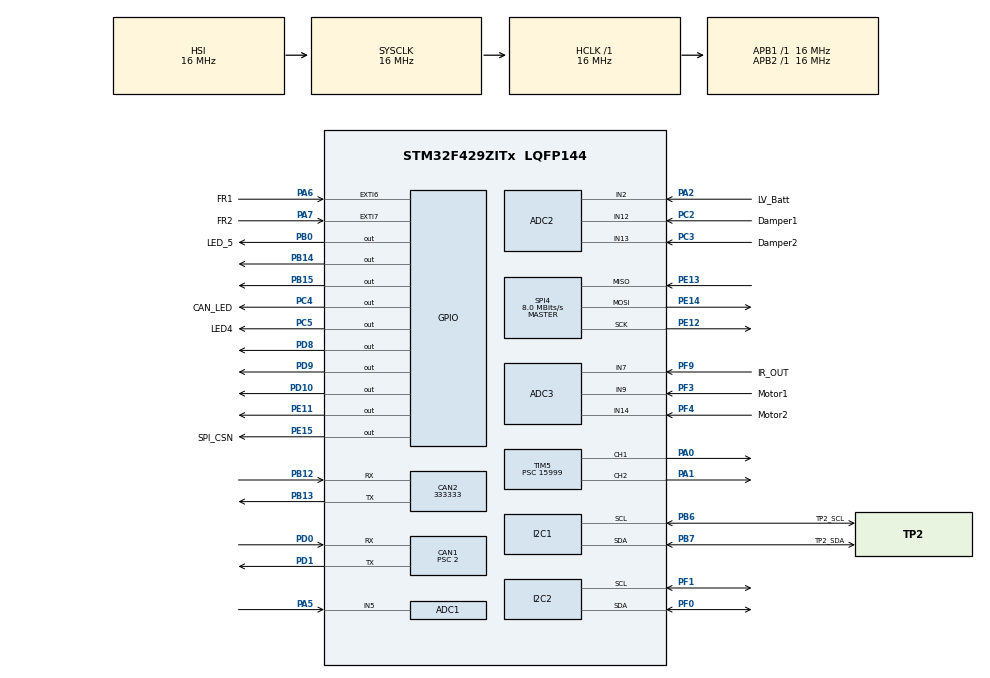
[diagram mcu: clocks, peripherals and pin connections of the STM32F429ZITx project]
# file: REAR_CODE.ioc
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ADC1.Channel-0\#ChannelRegularConversion=ADC_CHANNEL_5
ADC1.NbrOfConversionFlag=1
ADC1.Rank-0\#ChannelRegularConversion=1
ADC1.SamplingTime-0\#ChannelRegularConversion=ADC_SAMPLETIME_3CYCLES
ADC1.master=1
ADC2.Channel-1\#ChannelRegularConversion=ADC_CHANNEL_12
ADC2.NbrOfConversionFlag=1
ADC2.Rank-1\#ChannelRegularConversion=1
ADC2.SamplingTime-1\#ChannelRegularConversion=ADC_SAMPLETIME_3CYCLES
ADC3.Channel-0\#ChannelRegularConversion=ADC_CHANNEL_14
ADC3.NbrOfConversionFlag=1
ADC3.Rank-0\#ChannelRegularConversion=1
ADC3.SamplingTime-0\#ChannelRegularConversion=ADC_SAMPLETIME_3CYCLES
CAN1.AWUM=ENABLE
CAN1.BS1=CAN_BS1_11TQ
CAN1.BS2=CAN_BS2_4TQ
CAN1.CalculateBaudRate=500000
CAN1.CalculateTimeBit=2000
CAN1.CalculateTimeQuantum=125.0
CAN1.NART=ENABLE
CAN1.Prescaler=2
CAN2.CalculateBaudRate=333333
CAN2.CalculateTimeBit=3000
CAN2.CalculateTimeQuantum=1000.0
Mcu.Family=STM32F4
Mcu.Name=STM32F429ZITx
Mcu.Package=LQFP144
NVIC.CAN1_RX0_IRQn=true\:0\:0\:false\:false\:true\:true\:true\:true
NVIC.CAN1_RX1_IRQn=true\:0\:0\:false\:false\:true\:true\:true\:true
NVIC.CAN2_RX0_IRQn=true\:0\:0\:true\:false\:true\:true\:true\:true
NVIC.CAN2_RX1_IRQn=true\:0\:0\:false\:false\:true\:true\:true\:true
NVIC.EXTI9_5_IRQn=true\:1\:0\:true\:false\:true\:true\:true\:true
NVIC.PriorityGroup=NVIC_PRIORITYGROUP_4
NVIC.TIM1_BRK_TIM9_IRQn=true\:2\:0\:true\:false\:true\:true\:true\:true
NVIC.TIM1_CC_IRQn=true\:2\:0\:true\:false\:true\:true\:true\:true
NVIC.TIM1_TRG_COM_TIM11_IRQn=true\:2\:0\:true\:false\:true\:true\:true\:true
NVIC.TIM1_UP_TIM10_IRQn=true\:2\:0\:true\:false\:true\:true\:true\:true
NVIC.TIM8_UP_TIM13_IRQn=true\:1\:0\:true\:false\:true\:true\:true\:true
PA0/WKUP.Signal=S_TIM5_CH1
PA1.Signal=S_TIM5_CH2
PA2.GPIO_Label=LV_Batt
PA2.Signal=ADCx_IN2
PA5.Signal=ADCx_IN5
PA6.GPIO_Label=FR1
PA6.Signal=GPXTI6
PA7.GPIO_Label=FR2
PA7.Signal=GPXTI7
PB0.GPIO_Label=LED_5
PB0.Signal=GPIO_Output
PB12.Mode=CAN_Activate
PB12.Signal=CAN2_RX
PB13.Mode=CAN_Activate
PB13.Signal=CAN2_TX
PB14.Signal=GPIO_Output
PB15.Signal=GPIO_Output
PB6.GPIO_Label=TP2_SCL
PB6.Mode=I2C
PB6.Signal=I2C1_SCL
PB7.GPIO_Label=TP2_SDA
PB7.Mode=I2C
PB7.Signal=I2C1_SDA
PC2.GPIO_Label=Damper1
PC2.Signal=ADCx_IN12
PC3.GPIO_Label=Damper2
PC3.Signal=ADCx_IN13
PC4.GPIO_Label=CAN_LED
PC4.Signal=GPIO_Output
PC5.GPIO_Label=LED4
PC5.Signal=GPIO_Output
PD0.Mode=CAN_Activate
PD0.Signal=CAN1_RX
PD1.Mode=CAN_Activate
PD1.Signal=CAN1_TX
PD10.Signal=GPIO_Output
PD8.Signal=GPIO_Output
PD9.Signal=GPIO_Output
PE11.Signal=GPIO_Output
PE12.Mode=Full_Duplex_Master
PE12.Signal=SPI4_SCK
PE13.Mode=Full_Duplex_Master
PE13.Signal=SPI4_MISO
PE14.Mode=Full_Duplex_Master
PE14.Signal=SPI4_MOSI
PE15.GPIO_Label=SPI_CSN
PE15.Signal=GPIO_Output
PF0.Mode=I2C
PF0.Signal=I2C2_SDA
PF1.Mode=I2C
PF1.Signal=I2C2_SCL
PF3.GPIO_Label=Motor1
PF3.Mode=IN9
PF3.Signal=ADC3_IN9
PF4.GPIO_Label=Motor2
PF4.Mode=IN14
PF4.Signal=ADC3_IN14
PF9.GPIO_Label=IR_OUT
PF9.Mode=IN7
PF9.Signal=ADC3_IN7
ProjectManager.HeapSize=0x200
ProjectManager.StackSize=0x400
ProjectManager.TargetToolchain=STM32CubeIDE
RCC.AHBFreq_Value=16000000
RCC.APB1Freq_Value=16000000
RCC.APB2Freq_Value=16000000
RCC.CortexFreq_Value=16000000
RCC.HSE_VALUE=25000000
RCC.HSI_VALUE=16000000
RCC.LSE_VALUE=32768
RCC.SYSCLKFreq_VALUE=16000000
RCC.VCOOutputFreq_Value=192000000
SH.ADCx_IN12.0=ADC2_IN12,IN12
SH.ADCx_IN13.0=ADC2_IN13,IN13
SH.ADCx_IN2.0=ADC2_IN2,IN2
SH.ADCx_IN5.0=ADC1_IN5,IN5
SH.S_TIM5_CH1.0=TIM5_CH1,PWM Generation1 CH1
SH.S_TIM5_CH2.0=TIM5_CH2,PWM Generation2 CH2
SPI4.CalculateBaudRate=8.0 MBits/s
SPI4.Direction=SPI_DIRECTION_2LINES
SPI4.Mode=SPI_MODE_MASTER
SPI4.VirtualType=VM_MASTER
TIM1.AutoReloadPreload=TIM_AUTORELOAD_PRELOAD_ENABLE
TIM1.Channel-PWM\ Generation1\ No\ Output=TIM_CHANNEL_1
TIM1.Period=1000
TIM1.Prescaler=15999
TIM1.Pulse-PWM\ Generation1\ No\ Output=100
TIM1.RepetitionCounter=5
TIM13.Period=9
TIM13.Prescaler=15999
TIM2.Channel-Output\ Compare1\ No\ Output=TIM_CHANNEL_1
TIM2.Period=1000
TIM2.Prescaler=15999
TIM2.TIM_MasterOutputTrigger=TIM_TRGO_UPDATE
TIM5.AutoReloadPreload=TIM_AUTORELOAD_PRELOAD_ENABLE
TIM5.Channel-PWM\ Generation1\ CH1=TIM_CHANNEL_1
TIM5.Channel-PWM\ Generation2\ CH2=TIM_CHANNEL_2
TIM5.Period=19
TIM5.Prescaler=15999
TIM5.Pulse-PWM\ Generation1\ CH1=10
TIM5.Pulse-PWM\ Generation2\ CH2=10
VP_TIM13_VS_ClockSourceINT.Mode=Enable_Timer
VP_TIM1_VS_ClockSourceINT.Mode=Internal
VP_TIM1_VS_ClockSourceITR.Mode=TriggerSource_ITR1
VP_TIM1_VS_ControllerModeTrigger.Mode=Trigger Mode
VP_TIM1_VS_OPM.Mode=OPM_bit
VP_TIM1_VS_no_output1.Mode=PWM Generation1 No Output
VP_TIM2_VS_ClockSourceINT.Mode=Internal
VP_TIM2_VS_no_output1.Mode=Output Compare1 No Output
VP_TIM5_VS_ClockSourceINT.Mode=Internal
board=custom

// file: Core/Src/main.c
/* USER CODE BEGIN Header */
/**
  ******************************************************************************
  * @file           : main.c
  * @brief          : Main program body
  ******************************************************************************
  * @attention
  *
  * Copyright (c) 2023 STMicroelectronics.
  * All rights reserved.
  *
  * This software is licensed under terms that can be found in the LICENSE file
  * in the root directory of this software component.
  * If no LICENSE file comes with this software, it is provided AS-IS.
  *
  ******************************************************************************
  */
/* USER CODE END Header */
#include "main.h"

/* USER CODE BEGIN Includes */
typedef struct {
	CAN_HandleTypeDef* hcan;
    uint32_t id;
    uint16_t data[4];
    uint8_t DLC;

} CanMessage;

CanMessage canMessageQueue[10]; //here you define the size of CAN message you want to send sequentially
uint8_t queueHead = 0;
uint8_t queueTail = 0;

void eq_CAN_Tx(CAN_HandleTypeDef* hcan, uint32_t id, uint16_t* data,uint8_t DLC);
void dq_CAN_Tx();
/* USER CODE END Includes */

ADC_HandleTypeDef hadc1;
ADC_HandleTypeDef hadc2;
ADC_HandleTypeDef hadc3;

CAN_HandleTypeDef hcan1;
CAN_HandleTypeDef hcan2;

I2C_HandleTypeDef hi2c1;
I2C_HandleTypeDef hi2c2;

SPI_HandleTypeDef hspi4;

TIM_HandleTypeDef htim1;
TIM_HandleTypeDef htim2;
TIM_HandleTypeDef htim5;
TIM_HandleTypeDef htim13;

/* USER CODE BEGIN PV */
uint32_t ir_sens;
int m1;
float volt,temp_ir,damp_right,damp_left,flowrate,flowr,flowr1;
uint32_t pres,pres2,pres3,pres4, temp,temp2,temp3,temp4,stat;
uint16_t Tim1Prescaler,Period,Period2,Tim2Prescaler;
uint8_t RxData[8];
int c,a,b,d,x,count,count1;
int c=1;int b1=0;int c1=0;int tim_on=0;
uint32_t rcr_value,ccr_value;
uint16_t damp_sens[2];
uint16_t ptl[8],ptr[8];
uint16_t sens[4];
uint32_t ide;
uint16_t batt;
float Tdisplay,Pdisplay,Tdisplay2,Pdisplay2,Tdisplay3,Pdisplay3,Tdisplay4,Pdisplay4;
uint8_t data1[4],data2[4],data3[4],data4[4];
int f1,f2,f3;
CAN_RxHeaderTypeDef RxHeader;

uint32_t t1,t2;
/* USER CODE END PV */

void SystemClock_Config(void);
static void MX_GPIO_Init(void);
static void MX_ADC3_Init(void);
static void MX_CAN1_Init(void);
static void MX_CAN2_Init(void);
static void MX_I2C1_Init(void);
static void MX_SPI4_Init(void);
static void MX_ADC2_Init(void);
static void MX_TIM1_Init(void);
static void MX_TIM2_Init(void);
static void MX_ADC1_Init(void);
static void MX_I2C2_Init(void);
static void MX_TIM13_Init(void);
static void MX_TIM5_Init(void);
/* USER CODE BEGIN PFP */
void irsens(void);
static void Tim1_cust(void);
static void Tim2_cust(void);
void lv_batt();
void dampers();
void func_time(int c);
void diffunc();
void CAN_Tx(CAN_HandleTypeDef* hcan, uint32_t id, uint8_t* data_tx);
void CAN_Start();
void flowrate1();
void flowrate2();
void pres_temp();
void CAN_transmit();
/* USER CODE END PFP */

/* USER CODE BEGIN 0 */
uint8_t Txdata[8];
/* USER CODE END 0 */

int main(void)
{

  /* MCU Configuration--------------------------------------------------------*/

  /* Reset of all peripherals, Initializes the Flash interface and the Systick. */
  HAL_Init();

  /* Configure the system clock */
  SystemClock_Config();

  /* Initialize all configured peripherals */
  MX_GPIO_Init();
  MX_ADC3_Init();
  MX_CAN1_Init();
  MX_CAN2_Init();
  MX_I2C1_Init();
  MX_SPI4_Init();
  MX_ADC2_Init();
  MX_TIM1_Init();
  MX_TIM2_Init();
  MX_ADC1_Init();
  MX_I2C2_Init();
  MX_TIM13_Init();
  MX_TIM5_Init();
  /* USER CODE BEGIN 2 */

Tim2_cust();
Tim1_cust();
CAN_Start();
//  if(HAL_ADC_Start_IT(&hadc1) != HAL_OK)
//                 Error_Handler();

   // start pwm generation
  HAL_TIM_Base_Start(&htim2);
  HAL_TIM_PWM_Start_IT(&htim1, TIM_CHANNEL_1);
  HAL_TIM_Base_Start_IT(&htim13);
  fanpwm();

  /* USER CODE END 2 */

  /* Infinite loop */
  while (1)
  {

  }
}

void SystemClock_Config(void)
{
  RCC_OscInitTypeDef RCC_OscInitStruct = {0};
  RCC_ClkInitTypeDef RCC_ClkInitStruct = {0};

  /** Configure the main internal regulator output voltage
  */
  __HAL_RCC_PWR_CLK_ENABLE();
  __HAL_PWR_VOLTAGESCALING_CONFIG(PWR_REGULATOR_VOLTAGE_SCALE3);

  /** Initializes the RCC Oscillators according to the specified parameters
  * in the RCC_OscInitTypeDef structure.
  */
  RCC_OscInitStruct.OscillatorType = RCC_OSCILLATORTYPE_HSI;
  RCC_OscInitStruct.HSIState = RCC_HSI_ON;
  RCC_OscInitStruct.HSICalibrationValue = RCC_HSICALIBRATION_DEFAULT;
  RCC_OscInitStruct.PLL.PLLState = RCC_PLL_NONE;
  if (HAL_RCC_OscConfig(&RCC_OscInitStruct) != HAL_OK)
  {
    Error_Handler();
  }

  /** Initializes the CPU, AHB and APB buses clocks
  */
  RCC_ClkInitStruct.ClockType = RCC_CLOCKTYPE_HCLK|RCC_CLOCKTYPE_SYSCLK
                              |RCC_CLOCKTYPE_PCLK1|RCC_CLOCKTYPE_PCLK2;
  RCC_ClkInitStruct.SYSCLKSource = RCC_SYSCLKSOURCE_HSI;
  RCC_ClkInitStruct.AHBCLKDivider = RCC_SYSCLK_DIV1;
  RCC_ClkInitStruct.APB1CLKDivider = RCC_HCLK_DIV1;
  RCC_ClkInitStruct.APB2CLKDivider = RCC_HCLK_DIV1;

  if (HAL_RCC_ClockConfig(&RCC_ClkInitStruct, FLASH_LATENCY_0) != HAL_OK)
  {
    Error_Handler();
  }
}

static void MX_ADC1_Init(void)
{

  ADC_ChannelConfTypeDef sConfig = {0};

  /** Configure the global features of the ADC (Clock, Resolution, Data Alignment and number of conversion)
  */
  hadc1.Instance = ADC1;
  hadc1.Init.ClockPrescaler = ADC_CLOCK_SYNC_PCLK_DIV2;
  hadc1.Init.Resolution = ADC_RESOLUTION_12B;
  hadc1.Init.ScanConvMode = DISABLE;
  hadc1.Init.ContinuousConvMode = DISABLE;
  hadc1.Init.DiscontinuousConvMode = DISABLE;
  hadc1.Init.ExternalTrigConvEdge = ADC_EXTERNALTRIGCONVEDGE_NONE;
  hadc1.Init.ExternalTrigConv = ADC_SOFTWARE_START;
  hadc1.Init.DataAlign = ADC_DATAALIGN_RIGHT;
  hadc1.Init.NbrOfConversion = 1;
  hadc1.Init.DMAContinuousRequests = DISABLE;
  hadc1.Init.EOCSelection = ADC_EOC_SINGLE_CONV;
  if (HAL_ADC_Init(&hadc1) != HAL_OK)
  {
    Error_Handler();
  }

  /** Configure for the selected ADC regular channel its corresponding rank in the sequencer and its sample time.
  */
  sConfig.Channel = ADC_CHANNEL_5;
  sConfig.Rank = 1;
  sConfig.SamplingTime = ADC_SAMPLETIME_3CYCLES;
  if (HAL_ADC_ConfigChannel(&hadc1, &sConfig) != HAL_OK)
  {
    Error_Handler();
  }

}

static void MX_ADC2_Init(void)
{

  ADC_ChannelConfTypeDef sConfig = {0};

  /** Configure the global features of the ADC (Clock, Resolution, Data Alignment and number of conversion)
  */
  hadc2.Instance = ADC2;
  hadc2.Init.ClockPrescaler = ADC_CLOCK_SYNC_PCLK_DIV2;
  hadc2.Init.Resolution = ADC_RESOLUTION_12B;
  hadc2.Init.ScanConvMode = DISABLE;
  hadc2.Init.ContinuousConvMode = DISABLE;
  hadc2.Init.DiscontinuousConvMode = DISABLE;
  hadc2.Init.ExternalTrigConvEdge = ADC_EXTERNALTRIGCONVEDGE_NONE;
  hadc2.Init.ExternalTrigConv = ADC_SOFTWARE_START;
  hadc2.Init.DataAlign = ADC_DATAALIGN_RIGHT;
  hadc2.Init.NbrOfConversion = 1;
  hadc2.Init.DMAContinuousRequests = DISABLE;
  hadc2.Init.EOCSelection = ADC_EOC_SINGLE_CONV;
  if (HAL_ADC_Init(&hadc2) != HAL_OK)
  {
    Error_Handler();
  }

  /** Configure for the selected ADC regular channel its corresponding rank in the sequencer and its sample time.
  */
  sConfig.Channel = ADC_CHANNEL_12;
  sConfig.Rank = 1;
  sConfig.SamplingTime = ADC_SAMPLETIME_3CYCLES;
  if (HAL_ADC_ConfigChannel(&hadc2, &sConfig) != HAL_OK)
  {
    Error_Handler();
  }

}

static void MX_ADC3_Init(void)
{

  ADC_ChannelConfTypeDef sConfig = {0};

  /** Configure the global features of the ADC (Clock, Resolution, Data Alignment and number of conversion)
  */
  hadc3.Instance = ADC3;
  hadc3.Init.ClockPrescaler = ADC_CLOCK_SYNC_PCLK_DIV2;
  hadc3.Init.Resolution = ADC_RESOLUTION_12B;
  hadc3.Init.ScanConvMode = DISABLE;
  hadc3.Init.ContinuousConvMode = DISABLE;
  hadc3.Init.DiscontinuousConvMode = DISABLE;
  hadc3.Init.ExternalTrigConvEdge = ADC_EXTERNALTRIGCONVEDGE_NONE;
  hadc3.Init.ExternalTrigConv = ADC_SOFTWARE_START;
  hadc3.Init.DataAlign = ADC_DATAALIGN_RIGHT;
  hadc3.Init.NbrOfConversion = 1;
  hadc3.Init.DMAContinuousRequests = DISABLE;
  hadc3.Init.EOCSelection = ADC_EOC_SINGLE_CONV;
  if (HAL_ADC_Init(&hadc3) != HAL_OK)
  {
    Error_Handler();
  }

  /** Configure for the selected ADC regular channel its corresponding rank in the sequencer and its sample time.
  */
  sConfig.Channel = ADC_CHANNEL_14;
  sConfig.Rank = 1;
  sConfig.SamplingTime = ADC_SAMPLETIME_3CYCLES;
  if (HAL_ADC_ConfigChannel(&hadc3, &sConfig) != HAL_OK)
  {
    Error_Handler();
  }

}

static void MX_CAN1_Init(void)
{

  hcan1.Instance = CAN1;
  hcan1.Init.Prescaler = 2;
  hcan1.Init.Mode = CAN_MODE_NORMAL;
  hcan1.Init.SyncJumpWidth = CAN_SJW_1TQ;
  hcan1.Init.TimeSeg1 = CAN_BS1_11TQ;
  hcan1.Init.TimeSeg2 = CAN_BS2_4TQ;
  hcan1.Init.TimeTriggeredMode = DISABLE;
  hcan1.Init.AutoBusOff = DISABLE;
  hcan1.Init.AutoWakeUp = ENABLE;
  hcan1.Init.AutoRetransmission = ENABLE;
  hcan1.Init.ReceiveFifoLocked = DISABLE;
  hcan1.Init.TransmitFifoPriority = DISABLE;
  if (HAL_CAN_Init(&hcan1) != HAL_OK)
  {
    Error_Handler();
  }

}

static void MX_CAN2_Init(void)
{

  hcan2.Instance = CAN2;
  hcan2.Init.Prescaler = 16;
  hcan2.Init.Mode = CAN_MODE_NORMAL;
  hcan2.Init.SyncJumpWidth = CAN_SJW_1TQ;
  hcan2.Init.TimeSeg1 = CAN_BS1_1TQ;
  hcan2.Init.TimeSeg2 = CAN_BS2_1TQ;
  hcan2.Init.TimeTriggeredMode = DISABLE;
  hcan2.Init.AutoBusOff = DISABLE;
  hcan2.Init.AutoWakeUp = DISABLE;
  hcan2.Init.AutoRetransmission = DISABLE;
  hcan2.Init.ReceiveFifoLocked = DISABLE;
  hcan2.Init.TransmitFifoPriority = DISABLE;
  if (HAL_CAN_Init(&hcan2) != HAL_OK)
  {
    Error_Handler();
  }

}

static void MX_I2C1_Init(void)
{

  hi2c1.Instance = I2C1;
  hi2c1.Init.ClockSpeed = 100000;
  hi2c1.Init.DutyCycle = I2C_DUTYCYCLE_2;
  hi2c1.Init.OwnAddress1 = 0;
  hi2c1.Init.AddressingMode = I2C_ADDRESSINGMODE_7BIT;
  hi2c1.Init.DualAddressMode = I2C_DUALADDRESS_DISABLE;
  hi2c1.Init.OwnAddress2 = 0;
  hi2c1.Init.GeneralCallMode = I2C_GENERALCALL_DISABLE;
  hi2c1.Init.NoStretchMode = I2C_NOSTRETCH_DISABLE;
  if (HAL_I2C_Init(&hi2c1) != HAL_OK)
  {
    Error_Handler();
  }

  /** Configure Analogue filter
  */
  if (HAL_I2CEx_ConfigAnalogFilter(&hi2c1, I2C_ANALOGFILTER_ENABLE) != HAL_OK)
  {
    Error_Handler();
  }

  /** Configure Digital filter
  */
  if (HAL_I2CEx_ConfigDigitalFilter(&hi2c1, 0) != HAL_OK)
  {
    Error_Handler();
  }

}

static void MX_I2C2_Init(void)
{

  hi2c2.Instance = I2C2;
  hi2c2.Init.ClockSpeed = 100000;
  hi2c2.Init.DutyCycle = I2C_DUTYCYCLE_2;
  hi2c2.Init.OwnAddress1 = 0;
  hi2c2.Init.AddressingMode = I2C_ADDRESSINGMODE_7BIT;
  hi2c2.Init.DualAddressMode = I2C_DUALADDRESS_DISABLE;
  hi2c2.Init.OwnAddress2 = 0;
  hi2c2.Init.GeneralCallMode = I2C_GENERALCALL_DISABLE;
  hi2c2.Init.NoStretchMode = I2C_NOSTRETCH_DISABLE;
  if (HAL_I2C_Init(&hi2c2) != HAL_OK)
  {
    Error_Handler();
  }

  /** Configure Analogue filter
  */
  if (HAL_I2CEx_ConfigAnalogFilter(&hi2c2, I2C_ANALOGFILTER_ENABLE) != HAL_OK)
  {
    Error_Handler();
  }

  /** Configure Digital filter
  */
  if (HAL_I2CEx_ConfigDigitalFilter(&hi2c2, 0) != HAL_OK)
  {
    Error_Handler();
  }

}

static void MX_SPI4_Init(void)
{

  /* SPI4 parameter configuration*/
  hspi4.Instance = SPI4;
  hspi4.Init.Mode = SPI_MODE_MASTER;
  hspi4.Init.Direction = SPI_DIRECTION_2LINES;
  hspi4.Init.DataSize = SPI_DATASIZE_8BIT;
  hspi4.Init.CLKPolarity = SPI_POLARITY_LOW;
  hspi4.Init.CLKPhase = SPI_PHASE_1EDGE;
  hspi4.Init.NSS = SPI_NSS_SOFT;
  hspi4.Init.BaudRatePrescaler = SPI_BAUDRATEPRESCALER_2;
  hspi4.Init.FirstBit = SPI_FIRSTBIT_MSB;
  hspi4.Init.TIMode = SPI_TIMODE_DISABLE;
  hspi4.Init.CRCCalculation = SPI_CRCCALCULATION_DISABLE;
  hspi4.Init.CRCPolynomial = 10;
  if (HAL_SPI_Init(&hspi4) != HAL_OK)
  {
    Error_Handler();
  }

}

static void MX_TIM1_Init(void)
{

  TIM_ClockConfigTypeDef sClockSourceConfig = {0};
  TIM_SlaveConfigTypeDef sSlaveConfig = {0};
  TIM_MasterConfigTypeDef sMasterConfig = {0};
  TIM_OC_InitTypeDef sConfigOC = {0};
  TIM_BreakDeadTimeConfigTypeDef sBreakDeadTimeConfig = {0};

  htim1.Instance = TIM1;
  htim1.Init.Prescaler = 15999;
  htim1.Init.CounterMode = TIM_COUNTERMODE_UP;
  htim1.Init.Period = 1000;
  htim1.Init.ClockDivision = TIM_CLOCKDIVISION_DIV1;
  htim1.Init.RepetitionCounter = 5;
  htim1.Init.AutoReloadPreload = TIM_AUTORELOAD_PRELOAD_ENABLE;
  if (HAL_TIM_Base_Init(&htim1) != HAL_OK)
  {
    Error_Handler();
  }
  sClockSourceConfig.ClockSource = TIM_CLOCKSOURCE_INTERNAL;
  if (HAL_TIM_ConfigClockSource(&htim1, &sClockSourceConfig) != HAL_OK)
  {
    Error_Handler();
  }
  if (HAL_TIM_PWM_Init(&htim1) != HAL_OK)
  {
    Error_Handler();
  }
  if (HAL_TIM_OnePulse_Init(&htim1, TIM_OPMODE_SINGLE) != HAL_OK)
  {
    Error_Handler();
  }
  sSlaveConfig.SlaveMode = TIM_SLAVEMODE_TRIGGER;
  sSlaveConfig.InputTrigger = TIM_TS_ITR1;
  if (HAL_TIM_SlaveConfigSynchro(&htim1, &sSlaveConfig) != HAL_OK)
  {
    Error_Handler();
  }
  sMasterConfig.MasterOutputTrigger = TIM_TRGO_RESET;
  sMasterConfig.MasterSlaveMode = TIM_MASTERSLAVEMODE_DISABLE;
  if (HAL_TIMEx_MasterConfigSynchronization(&htim1, &sMasterConfig) != HAL_OK)
  {
    Error_Handler();
  }
  sConfigOC.OCMode = TIM_OCMODE_PWM1;
  sConfigOC.Pulse = 100;
  sConfigOC.OCPolarity = TIM_OCPOLARITY_HIGH;
  sConfigOC.OCNPolarity = TIM_OCNPOLARITY_HIGH;
  sConfigOC.OCFastMode = TIM_OCFAST_DISABLE;
  sConfigOC.OCIdleState = TIM_OCIDLESTATE_RESET;
  sConfigOC.OCNIdleState = TIM_OCNIDLESTATE_RESET;
  if (HAL_TIM_PWM_ConfigChannel(&htim1, &sConfigOC, TIM_CHANNEL_1) != HAL_OK)
  {
    Error_Handler();
  }
  sBreakDeadTimeConfig.OffStateRunMode = TIM_OSSR_DISABLE;
  sBreakDeadTimeConfig.OffStateIDLEMode = TIM_OSSI_DISABLE;
  sBreakDeadTimeConfig.LockLevel = TIM_LOCKLEVEL_OFF;
  sBreakDeadTimeConfig.DeadTime = 0;
  sBreakDeadTimeConfig.BreakState = TIM_BREAK_DISABLE;
  sBreakDeadTimeConfig.BreakPolarity = TIM_BREAKPOLARITY_HIGH;
  sBreakDeadTimeConfig.AutomaticOutput = TIM_AUTOMATICOUTPUT_DISABLE;
  if (HAL_TIMEx_ConfigBreakDeadTime(&htim1, &sBreakDeadTimeConfig) != HAL_OK)
  {
    Error_Handler();
  }

}

static void MX_TIM2_Init(void)
{

  TIM_ClockConfigTypeDef sClockSourceConfig = {0};
  TIM_MasterConfigTypeDef sMasterConfig = {0};
  TIM_OC_InitTypeDef sConfigOC = {0};

  htim2.Instance = TIM2;
  htim2.Init.Prescaler = 15999;
  htim2.Init.CounterMode = TIM_COUNTERMODE_UP;
  htim2.Init.Period = 1000;
  htim2.Init.ClockDivision = TIM_CLOCKDIVISION_DIV1;
  htim2.Init.AutoReloadPreload = TIM_AUTORELOAD_PRELOAD_DISABLE;
  if (HAL_TIM_Base_Init(&htim2) != HAL_OK)
  {
    Error_Handler();
  }
  sClockSourceConfig.ClockSource = TIM_CLOCKSOURCE_INTERNAL;
  if (HAL_TIM_ConfigClockSource(&htim2, &sClockSourceConfig) != HAL_OK)
  {
    Error_Handler();
  }
  if (HAL_TIM_OC_Init(&htim2) != HAL_OK)
  {
    Error_Handler();
  }
  sMasterConfig.MasterOutputTrigger = TIM_TRGO_UPDATE;
  sMasterConfig.MasterSlaveMode = TIM_MASTERSLAVEMODE_DISABLE;
  if (HAL_TIMEx_MasterConfigSynchronization(&htim2, &sMasterConfig) != HAL_OK)
  {
    Error_Handler();
  }
  sConfigOC.OCMode = TIM_OCMODE_TIMING;
  sConfigOC.Pulse = 0;
  sConfigOC.OCPolarity = TIM_OCPOLARITY_HIGH;
  sConfigOC.OCFastMode = TIM_OCFAST_DISABLE;
  if (HAL_TIM_OC_ConfigChannel(&htim2, &sConfigOC, TIM_CHANNEL_1) != HAL_OK)
  {
    Error_Handler();
  }

}

static void MX_TIM5_Init(void)
{

  TIM_ClockConfigTypeDef sClockSourceConfig = {0};
  TIM_MasterConfigTypeDef sMasterConfig = {0};
  TIM_OC_InitTypeDef sConfigOC = {0};

  /* USER CODE BEGIN TIM5_Init 1 */
s
  /* USER CODE END TIM5_Init 1 */
  htim5.Instance = TIM5;
  htim5.Init.Prescaler = 15999;
  htim5.Init.CounterMode = TIM_COUNTERMODE_UP;
  htim5.Init.Period = 19;
  htim5.Init.ClockDivision = TIM_CLOCKDIVISION_DIV1;
  htim5.Init.AutoReloadPreload = TIM_AUTORELOAD_PRELOAD_ENABLE;
  if (HAL_TIM_Base_Init(&htim5) != HAL_OK)
  {
    Error_Handler();
  }
  sClockSourceConfig.ClockSource = TIM_CLOCKSOURCE_INTERNAL;
  if (HAL_TIM_ConfigClockSource(&htim5, &sClockSourceConfig) != HAL_OK)
  {
    Error_Handler();
  }
  if (HAL_TIM_PWM_Init(&htim5) != HAL_OK)
  {
    Error_Handler();
  }
  sMasterConfig.MasterOutputTrigger = TIM_TRGO_RESET;
  sMasterConfig.MasterSlaveMode = TIM_MASTERSLAVEMODE_DISABLE;
  if (HAL_TIMEx_MasterConfigSynchronization(&htim5, &sMasterConfig) != HAL_OK)
  {
    Error_Handler();
  }
  sConfigOC.OCMode = TIM_OCMODE_PWM1;
  sConfigOC.Pulse = 10;
  sConfigOC.OCPolarity = TIM_OCPOLARITY_HIGH;
  sConfigOC.OCFastMode = TIM_OCFAST_DISABLE;
  if (HAL_TIM_PWM_ConfigChannel(&htim5, &sConfigOC, TIM_CHANNEL_1) != HAL_OK)
  {
    Error_Handler();
  }
  if (HAL_TIM_PWM_ConfigChannel(&htim5, &sConfigOC, TIM_CHANNEL_2) != HAL_OK)
  {
    Error_Handler();
  }
  HAL_TIM_MspPostInit(&htim5);

}

static void MX_TIM13_Init(void)
{

  htim13.Instance = TIM13;
  htim13.Init.Prescaler = 15999;
  htim13.Init.CounterMode = TIM_COUNTERMODE_UP;
  htim13.Init.Period = 9;
  htim13.Init.ClockDivision = TIM_CLOCKDIVISION_DIV1;
  htim13.Init.AutoReloadPreload = TIM_AUTORELOAD_PRELOAD_DISABLE;
  if (HAL_TIM_Base_Init(&htim13) != HAL_OK)
  {
    Error_Handler();
  }

}

static void MX_GPIO_Init(void)
{
  GPIO_InitTypeDef GPIO_InitStruct = {0};

  /* GPIO Ports Clock Enable */
  __HAL_RCC_GPIOF_CLK_ENABLE();
  __HAL_RCC_GPIOC_CLK_ENABLE();
  __HAL_RCC_GPIOA_CLK_ENABLE();
  __HAL_RCC_GPIOB_CLK_ENABLE();
  __HAL_RCC_GPIOE_CLK_ENABLE();
  __HAL_RCC_GPIOD_CLK_ENABLE();

  /*Configure GPIO pin Output Level */
  HAL_GPIO_WritePin(GPIOC, CAN_LED_Pin|LED4_Pin, GPIO_PIN_RESET);

  /*Configure GPIO pin Output Level */
  HAL_GPIO_WritePin(GPIOB, LED_5_Pin|GPIO_PIN_14|GPIO_PIN_15, GPIO_PIN_RESET);

  /*Configure GPIO pin Output Level */
  HAL_GPIO_WritePin(GPIOE, GPIO_PIN_11|SPI_CSN_Pin, GPIO_PIN_RESET);

  /*Configure GPIO pin Output Level */
  HAL_GPIO_WritePin(GPIOD, GPIO_PIN_8|GPIO_PIN_9|GPIO_PIN_10, GPIO_PIN_RESET);

  /*Configure GPIO pins : FR1_Pin FR2_Pin */
  GPIO_InitStruct.Pin = FR1_Pin|FR2_Pin;
  GPIO_InitStruct.Mode = GPIO_MODE_IT_RISING;
  GPIO_InitStruct.Pull = GPIO_NOPULL;
  HAL_GPIO_Init(GPIOA, &GPIO_InitStruct);

  /*Configure GPIO pins : CAN_LED_Pin LED4_Pin */
  GPIO_InitStruct.Pin = CAN_LED_Pin|LED4_Pin;
  GPIO_InitStruct.Mode = GPIO_MODE_OUTPUT_PP;
  GPIO_InitStruct.Pull = GPIO_NOPULL;
  GPIO_InitStruct.Speed = GPIO_SPEED_FREQ_LOW;
  HAL_GPIO_Init(GPIOC, &GPIO_InitStruct);

  /*Configure GPIO pins : LED_5_Pin PB14 PB15 */
  GPIO_InitStruct.Pin = LED_5_Pin|GPIO_PIN_14|GPIO_PIN_15;
  GPIO_InitStruct.Mode = GPIO_MODE_OUTPUT_PP;
  GPIO_InitStruct.Pull = GPIO_NOPULL;
  GPIO_InitStruct.Speed = GPIO_SPEED_FREQ_LOW;
  HAL_GPIO_Init(GPIOB, &GPIO_InitStruct);

  /*Configure GPIO pins : PE11 SPI_CSN_Pin */
  GPIO_InitStruct.Pin = GPIO_PIN_11|SPI_CSN_Pin;
  GPIO_InitStruct.Mode = GPIO_MODE_OUTPUT_PP;
  GPIO_InitStruct.Pull = GPIO_NOPULL;
  GPIO_InitStruct.Speed = GPIO_SPEED_FREQ_LOW;
  HAL_GPIO_Init(GPIOE, &GPIO_InitStruct);

  /*Configure GPIO pins : PD8 PD9 PD10 */
  GPIO_InitStruct.Pin = GPIO_PIN_8|GPIO_PIN_9|GPIO_PIN_10;
  GPIO_InitStruct.Mode = GPIO_MODE_OUTPUT_PP;
  GPIO_InitStruct.Pull = GPIO_NOPULL;
  GPIO_InitStruct.Speed = GPIO_SPEED_FREQ_LOW;
  HAL_GPIO_Init(GPIOD, &GPIO_InitStruct);

  /* EXTI interrupt init*/
  HAL_NVIC_SetPriority(EXTI9_5_IRQn, 1, 0);
  HAL_NVIC_EnableIRQ(EXTI9_5_IRQn);

}

/* USER CODE BEGIN 4 */

void HAL_GPIO_EXTI_Callback(uint16_t GPIO_Pin){
	if(GPIO_Pin==FR1_Pin){
		count++;
	}
	if(GPIO_Pin==FR2_Pin){
			count1++;
		}
}

uint16_t ADC_Read(ADC_HandleTypeDef* hadc, uint32_t ADC_CH)
{
	uint32_t val;
	ADC_ChannelConfTypeDef sConfig = {0};
	sConfig.Channel = ADC_CH;
	sConfig.Rank = 1;
	HAL_ADC_ConfigChannel(hadc, &sConfig);
	HAL_ADC_Start(hadc);
        HAL_ADC_PollForConversion(hadc, 1);
	val = HAL_ADC_GetValue(hadc);
	HAL_ADC_Stop(hadc);
	return val;
}

static void Tim1_cust(void)
{
	/* set the Timer prescaler to get 1kHz as counter clock */
	 Tim1Prescaler= (uint16_t) (SystemCoreClock / 1000) - 1;
	/* configure the repetition counter */
      TIM1->RCR = ((uint32_t) 9) -1;
 	 rcr_value=TIM1->RCR;
 	/* Initialize the PWM period to get 150 ms as frequency from 1kHz */
	 Period = 110;
		/* configure pulse width */
		 TIM1->CCR1 = 100;
	/* configure the Timer prescaler */
	 TIM1->PSC = Tim1Prescaler;
	/* configure the period */
	 TIM1->ARR = Period-1;

	/* Select the Clock Division to 1*/
	/* Reset clock Division bit field */
	 TIM1->CR1 &= ~ TIM_CR1_CKD;
	/* Select DIV1 as clock division*/
	 TIM1->CR1 |= TIM_CLOCKDIVISION_DIV1;
	/* Select the Up-counting for TIM1 counter */
	/* Reset mode selection bit fields*/
	 TIM1->CR1 &= ~(TIM_CR1_DIR | TIM_CR1_CMS);
	/* select Up-counting mode */
	 TIM1->CR1 |= TIM_COUNTERMODE_UP;
	/* SET PWM1 mode */
	/* Reset the Output Compare Mode Bits */
	 TIM1->CCMR1 &= ~TIM_CCMR1_OC1M;
	 TIM1->CCMR1 &= ~TIM_CCMR1_CC1S;
	 /* Select the output compare mode 1*/
	  TIM1->CCMR1 |= TIM_OCMODE_PWM1;
	 /************** One pulse mode configuration ************/
	  /* One Pulse Mode selection */
	  TIM1->CR1 |= TIM_CR1_OPM;
	 /********************************************************/
	 /******* Slave mode configuration: Trigger mode *********/
	 /* Select the TIM_TS_ITR1 signal as Input trigger for the TIM */
	  TIM1->SMCR &= ~TIM_SMCR_TS;
	  TIM1->SMCR |= TIM_TS_ITR1;
	 /* Select the Slave Mode */
	  TIM1->SMCR &= ~TIM_SMCR_SMS;
	  TIM1->SMCR |= TIM_SLAVEMODE_TRIGGER;
	 /******************************************************************/
	 /* Enable the output compare 1 Preload */
	  TIM1->CCMR1 |= TIM_CCMR1_OC1PE;
	 /* Set the UG bit to enable UEV */
	  TIM1->EGR |= TIM_EGR_UG;
	 /* Enable the TIM1 Main Output */
	  TIM1->BDTR |= TIM_BDTR_MOE;
	 /* Select active low as output polarity level */
	 /* Reset the Output Polarity level */
	  TIM1->CCER &= ~TIM_CCER_CC1P;
	 /* Set the Low output */
	  TIM1->CCER |= TIM_OCPOLARITY_LOW;
	 /* Enable CC1 output on High level */
	  TIM1->CCER |= TIM_CCER_CC1E;
	 /* Enable the TIM Counter */
	  TIM1->CR1 |= TIM_CR1_CEN;

}

static void Tim2_cust(void)
{
	/* set the Timer prescaler to get 1kHz as counter clock */
	 Tim2Prescaler= (uint16_t) ((SystemCoreClock ) / 1000) - 1;
	/* Initialize the PWM period to get 1 sec as frequency from 1MHz */
	 Period2 = 1000;
	/* configure the period */
	 TIM2->ARR = Period2-1;
	/* configure the Timer prescaler */
	 TIM2->PSC = Tim2Prescaler;
	 /* Select the Clock Divison to 1*/
	 /* Reset clock Division bit field */
	  TIM2->CR1 &= ~ TIM_CR1_CKD;
	 /* Select DIV1 as clock division*/
	  TIM2->CR1 |= TIM_CLOCKDIVISION_DIV1;
	 /* Select the Up-counting for TIM1 counter */
	 /* Reset mode selection bit fields */
	  TIM2->CR1 &= ~(TIM_CR1_DIR | TIM_CR1_CMS);
	 /* select Up-counting mode */
	  TIM2->CR1 |= TIM_COUNTERMODE_UP;
	 /****** Master mode configuration: Trigger update mode *******/
	 /* Trigger of TIM2 Update into TIM1 Slave */
	  TIM1->CR2 &= ~ TIM_CR2_MMS;
	  TIM2->CR2 |= TIM_TRGO_UPDATE;
	 /*************************************************************/
	 /* Enable the TIM Counter */
	  TIM2->CR1 |= TIM_CR1_CEN;

}

void func_time(int c)
{if(c==1)
   flowrate1();
 if(c==2)
  flowrate2();

 if(c>2)
 	 diffunc();
 }

void diffunc(void)
{
//	irsens();
	dampers();
	pres_temp();
	lv_batt();
//	HAL_GPIO_WritePin(GPIOD, GPIO_PIN_9,GPIO_PIN_RESET);
//		HAL_GPIO_WritePin(GPIOD, GPIO_PIN_10,GPIO_PIN_SET);

}

void pres_temp(void)
{
	      HAL_I2C_Master_Receive(&hi2c1, (uint16_t) (0x36<<1)+1, data1, 4, 10);
		  HAL_I2C_Master_Receive(&hi2c1, (uint16_t) (0x28<<1)+1, data2, 4, 10);
	      HAL_I2C_Master_Receive(&hi2c2, (uint16_t) (0x36<<1)+1, data3, 4, 10);
		  HAL_I2C_Master_Receive(&hi2c2, (uint16_t) (0x28<<1)+1, data4, 4, 10);

		  pres=(data1[0]<<8) | data1[1];
		  temp = (data1[2]<<3) | (data1[3]>>5);

		  pres2=(data2[0]<<8) | data2[1];-
		  temp2 = (data2[2]<<3) | (data2[3]>>5);

		  pres3=(data3[0]<<8) | data3[1];
		  temp3 = (data3[2]<<3) | (data3[3]>>5);

		  pres4=(data4[0]<<8) | data4[1];
+ 		  temp4 = (data4[2]<<3) | (data4[3]>>5);

		  stat = data1[0]>>6;  // first two bits denote status of i2c data,refer datasheet
          // Right Rear
		  Tdisplay=((float)temp*200.0/2048.0)-50.0; //Mapping done according to data sheet
		  pres = (((1 << 14) - 1) & (pres >> (1 - 1))); // masked out the first two bits denoting status
		  Pdisplay=(((float)pres-1000.0)*7.0/14000.0); //Mapping done according to data sheet

		  // Right Front
		 Tdisplay2=((float)temp2*200.0/2048.0)-50.0; //Mapping done according to data sheet
		 pres2 = (((1 << 14) - 1) & (pres2 >> (1 - 1))); // masked out the first two bits denoting status
		 Pdisplay2=(((float)pres2-1000.0)*7.0/14000.0)-0.01; //Mapping done according to data sheet
        //Left Rear
		 Tdisplay3=((float)temp3*200.0/2048.0)-50.0; //Mapping done according to data sheet
     	  pres3 = (((1 << 14) - 1) & (pres3 >> (1 - 1))); // masked out the first two bits denoting status
		  Pdisplay3=(((float)pres3-1000.0)*7.0/14000.0); //Mapping done according to data sheet

		  // Left Front
		  Tdisplay4=((float)temp4*200.0/2048.0)-50.0; //Mapping done according to data sheet
 		  pres4 = (((1 << 14) - 1) & (pres4 >> (1 - 1))); // masked out the first two bits denoting status
 		  Pdisplay4=(((float)pres4-1000.0)*7.0/14000.0); //Mapping done according to data sheet

 		  ptl[0]=(uint16_t)(Tdisplay3*10);//Left Front
 		  ptl[1]=(uint16_t)(Pdisplay3*10);
 		  ptl[2]=(uint16_t)(Tdisplay4*10);//Left Rear
 		  ptl[3]=(uint16_t)(Pdisplay4*10);

 		  ptr[0]=(uint16_t)(Tdisplay2*10);// Right Front
 		  ptr[1]=(uint16_t)(Pdisplay2*10);
 		  ptr[2]=(uint16_t)(Tdisplay*10);//Right  Rear
 		  ptr[3]=(uint16_t)(Pdisplay*10);

}

void dampers(void)
{
	damp_sens[0] = ADC_Read(&hadc1,ADC_CHANNEL_12);
	damp_sens[1] = ADC_Read(&hadc1,ADC_CHANNEL_13);
	damp_right=damp_sens[0]*3.30/4096.0;
	damp_left=damp_sens[1]*3.30/4096.0;
    sens[0]=damp_sens[0];
    sens[1]=damp_sens[1];

}

void irsens(void)
{
	ir_sens=ADC_Read(&hadc1,ADC_CHANNEL_15);
	volt=(ir_sens)*3/(4096.0)+ 0.060;
	temp_ir=volt/3.0*450-70;
	sens[2]=ir_sens;

}

void flowrate1(void)
{
    flowr=count/5.50;
	count=0;

	sens[2]=(uint8_t) count;

}
void flowrate2(void)
{
    flowr1=count1/5.50;
	count1=0;

	sens[3]=(uint8_t) count1;

}

void lv_batt(void)
{
	batt=ADC_Read(&hadc2,ADC_CHANNEL_2);
	sens[2]=batt;

}

void HAL_TIM_PWM_PulseFinishedCallback(TIM_HandleTypeDef *htim)

{
	if(htim == &htim1)
	{   rcr_value=TIM1->CNT;
      if(c==10)
    	  c=1;
      func_time(c);
	  c++;}
}

//void HAL_TIM_PeriodElapsedCallback(TIM_HandleTypeDef *htim)
//{
//	if(htim == &htim13 && tim_on==1 )
//		{
//			 CAN_transmit();
//		}
//}
void CAN_Start(){

	CAN_FilterTypeDef filter1, filter2;

	filter1.FilterBank = 0;
	filter1.FilterActivation = ENABLE;
	filter1.FilterFIFOAssignment = CAN_FILTER_FIFO0;
	filter1.FilterScale = CAN_FILTERSCALE_32BIT;
	filter1.FilterMode = CAN_FILTERMODE_IDMASK;

	filter1.FilterMaskIdHigh = 0x0000;
	filter1.FilterMaskIdLow  = 0x0000;

	filter1.FilterIdLow  = 0x0000;
	filter1.FilterIdHigh = 0x0000;

	filter1.SlaveStartFilterBank = 14;
	filter2.FilterBank = 15;

	filter2.FilterActivation = ENABLE;
	filter2.FilterFIFOAssignment = CAN_FILTER_FIFO1;

	filter2.FilterScale = CAN_FILTERSCALE_32BIT;
	filter2.FilterMode = CAN_FILTERMODE_IDMASK;

	filter2.FilterMaskIdHigh = 0x0000;
	filter2.FilterMaskIdLow  = 0x0000;

	filter2.FilterIdLow  = 0x0000;
	filter2.FilterIdHigh = 0x0000;

	filter2.SlaveStartFilterBank = 14;

	if (HAL_CAN_ConfigFilter(&hcan1, &filter1) != HAL_OK) { // Configuring CAN line according to Filter values
		Error_Handler();
	}
	if (HAL_CAN_ConfigFilter(&hcan2, &filter2)!= HAL_OK){
		Error_Handler();
	}

	if (HAL_CAN_Start(&hcan1) != HAL_OK) { // CAN start
		Error_Handler();
	}

	if(HAL_CAN_Start(&hcan2) != HAL_OK){
		Error_Handler();
	}

	if(HAL_CAN_ActivateNotification(&hcan1, CAN_IT_RX_FIFO0_MSG_PENDING | CAN_IT_RX_FIFO0_FULL | CAN_IT_RX_FIFO0_OVERRUN) != HAL_OK){ // Interrupt activation
		Error_Handler();
	}

	if(HAL_CAN_ActivateNotification(&hcan2, CAN_IT_RX_FIFO1_MSG_PENDING | CAN_IT_RX_FIFO1_FULL | CAN_IT_RX_FIFO1_OVERRUN ) != HAL_OK){ // Interrupt activation
			Error_Handler();
		}
}

void CAN_Tx(CAN_HandleTypeDef* hcan, uint32_t id, uint8_t* data_tx){
	    CAN_TxHeaderTypeDef TxHeader;
		uint32_t Txmailbox = 0x00U;
		TxHeader.DLC=8;
	    TxHeader.StdId=id; // 11 bits
	    TxHeader.IDE=CAN_ID_STD;
	    TxHeader.RTR=CAN_RTR_DATA;

		if(HAL_CAN_GetTxMailboxesFreeLevel(hcan)>0){

			ide= TxHeader.StdId;
			if (HAL_CAN_AddTxMessage(hcan, &TxHeader, data_tx, &Txmailbox)!= HAL_OK){
				Error_Handler();
			}
		}

}

void HAL_CAN_RxFifo0MsgPendingCallback(CAN_HandleTypeDef *hcan){
//	CAN_RxHeaderTypeDef RxHeader;

	HAL_CAN_GetRxMessage(&hcan1, CAN_RX_FIFO0, &RxHeader,RxData);
	if(RxHeader.StdId==0x04 ){
		CAN_transmit();
		tim_on=1;
	}
}
void CAN_transmit(void)
{

	eq_CAN_Tx(&hcan1,0x025, ptl,4);
	eq_CAN_Tx(&hcan1,0x026, ptr,4);
	eq_CAN_Tx(&hcan1,0x027, sens,4);
	while(1)
	    {
	       if ((hcan1.Instance->TSR & CAN_TSR_TME0) || (hcan1.Instance->TSR & CAN_TSR_TME1) || (hcan1.Instance->TSR & CAN_TSR_TME2))  // checking empty CAN Tx mailboxes for can2 replace hcan1 with hcan2
	       {
	        dq_CAN_Tx();
	        HAL_GPIO_TogglePin(GPIOC, GPIO_PIN_4);
	        if (queueHead == queueTail) {
	                // Queue is empty, nothing to dequeue
	                break; // once queue empty no need for infinite queue
	       }
	    }
	}
	tim_on=0;
//	HAL_TIM_Base_Stop_IT(&htim13);
}

void eq_CAN_Tx(CAN_HandleTypeDef* hcan, uint32_t id, uint16_t* data,uint8_t len) {
    // Check if queue is full
    if ((queueHead + 1) % 10 == queueTail) {
        // Queue is full, discard new message
        return;
    }

    // Enqueue message
    canMessageQueue[queueHead].id = id;
    for (int i = 0; i < len; i++) {
        canMessageQueue[queueHead].data[i] = data[i];
    }
    canMessageQueue[queueHead].hcan = hcan;
    queueHead = (queueHead + 1) % 10;
}

void dq_CAN_Tx(void)
{
    // Check if queue is empty
    if (queueHead == queueTail) {
        // Queue is empty, nothing to dequeue
        return;
    }

    // Transmit message at the head of the queue
    CanMessage* message = &canMessageQueue[queueTail];

    CAN_Tx(message -> hcan,message->id,message->data);
    // Update queue tail
    queueTail = (queueTail + 1) % 10;
}

void fanpwm(void)
{
	HAL_TIM_PWM_Start_IT(&htim5, TIM_CHANNEL_1);
	HAL_TIM_PWM_Start_IT(&htim5, TIM_CHANNEL_2);
}

/* USER CODE END 4 */

void Error_Handler(void)
{
  __disable_irq();
  while (1)
  {
  }
}
